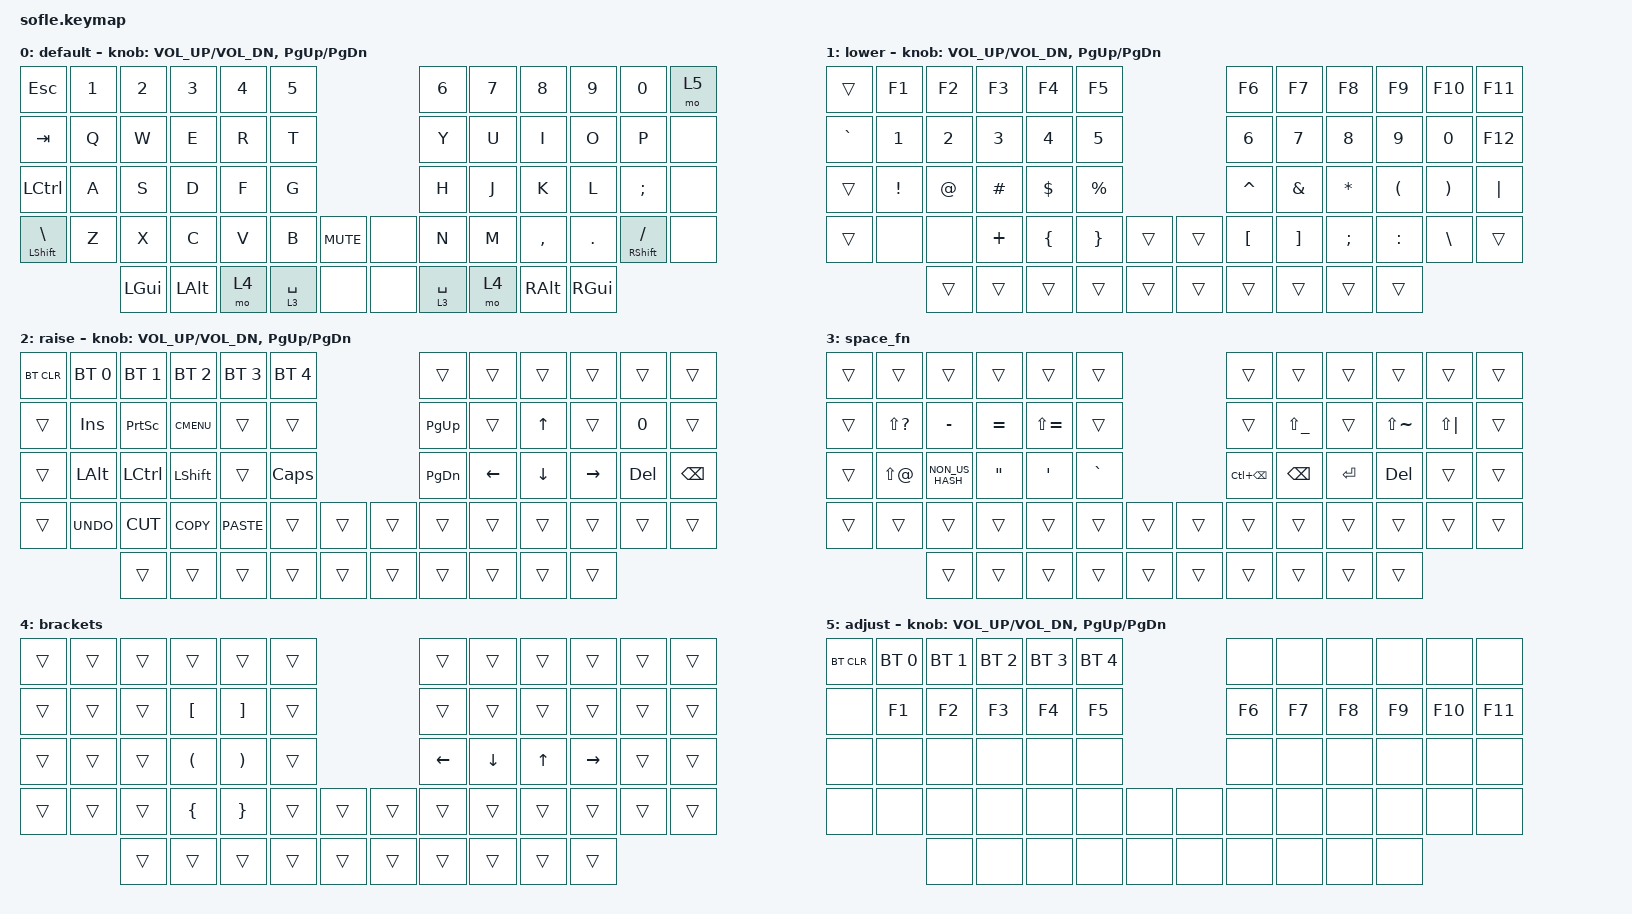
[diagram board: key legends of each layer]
/*
 * Copyright (c) 2020 The ZMK Contributors
 *
 * SPDX-License-Identifier: MIT
 */

#include <behaviors.dtsi>
#include <dt-bindings/zmk/bt.h>
#include <dt-bindings/zmk/keys.h>

#define BASE 0
#define LOWER 1
#define RAISE 2
#define ADJUST 3

&led_strip { chain-length = <36>; };

&nice_view_spi { cs-gpios = <&pro_micro 4 GPIO_ACTIVE_HIGH>; };

/ {
    // Activate ADJUST layer by pressing raise and lower

    conditional_layers { compatible = "zmk,conditional-layers"; };

    keymap {
        compatible = "zmk,keymap";

        default_layer {
            display-name = "default";

            // ------------------------------------------------------------------------------------------------------------
            // |   `   |  1  |  2  |  3   |  4   |  5   |                   |  6   |  7    |  8    |  9   |   0   |       |
            // |  ESC  |  Q  |  W  |  E   |  R   |  T   |                   |  Y   |  U    |  I    |  O   |   P   | BKSPC |
            // |  TAB  |  A  |  S  |  D   |  F   |  G   |                   |  H   |  J    |  K    |  L   |   ;   |   '   |
            // | SHIFT |  Z  |  X  |  C   |  V   |  B   |  MUTE  |  |       |  N   |  M    |  ,    |  .   |   /   | SHIFT |
            //               | GUI | ALT  | CTRL | LOWER|  ENTER |  | SPACE | RAISE| CTRL  | ALT   | GUI  |

            bindings = <
&kp ESCAPE           &kp N1  &kp N2    &kp N3    &kp N4  &kp N5                            &kp N6       &kp N7  &kp N8     &kp N9    &kp N0                &mo 5
&kp TAB              &kp Q   &kp W     &kp E     &kp R   &kp T                             &kp Y        &kp U   &kp I      &kp O     &kp P                 &none
&kp LCTRL            &kp A   &kp S     &kp D     &kp F   &kp G                             &kp H        &kp J   &kp K      &kp L     &kp SEMI              &none
&mt LSHFT BACKSLASH  &kp Z   &kp X     &kp C     &kp V   &kp B        &kp C_MUTE    &none  &kp N        &kp M   &kp COMMA  &kp DOT   &mt RIGHT_SHIFT FSLH  &none
                             &kp LGUI  &kp LALT  &mo 4   &lt 3 SPACE  &none         &none  &lt 3 SPACE  &mo 4   &kp RALT   &kp RGUI
            >;

            sensor-bindings = <
                &inc_dec_kp C_VOL_UP C_VOL_DN 
                &inc_dec_kp PG_UP PG_DN
            >;
        };

        lower_layer {
            display-name = "lower";

            // ------------------------------------------------------------------------------------------------------------
            // |       |  F1 |  F2 |  F3  |  F4  |  F5  |                   |  F6  |  F7   |  F8   |  F9  |  F10  |  F11  |
            // |   `   |  1  |  2  |  3   |  4   |  5   |                   |  6   |  7    |  8    |  9   |   0   |  F12  |
            // |       |  !  |  @  |  #   |  $   |  %   |                   |  ^   |  &    |  *    |  (   |   )   |   |   |
            // |       |  =  |  -  |  +   |  {   |  }   |        |  |       |  [   |  ]    |  ;    |  :   |   \   |       |
            //               |     |      |      |      |        |  |       |      |       |       |      |

            bindings = <
&trans     &kp F1    &kp F2  &kp F3    &kp F4    &kp F5                       &kp F6     &kp F7    &kp F8     &kp F9     &kp F10   &kp F11
&kp GRAVE  &kp N1    &kp N2  &kp N3    &kp N4    &kp N5                       &kp N6     &kp N7    &kp N8     &kp N9     &kp N0    &kp F12
&trans     &kp EXCL  &kp AT  &kp HASH  &kp DLLR  &kp PRCNT                    &kp CARET  &kp AMPS  &kp ASTRK  &kp LPAR   &kp RPAR  &kp PIPE
&trans     &none     &none   &kp PLUS  &kp LBRC  &kp RBRC   &trans    &trans  &kp LBKT   &kp RBKT  &kp SEMI   &kp COLON  &kp BSLH  &trans
                     &trans  &trans    &trans    &trans     &trans    &trans  &trans     &trans    &trans     &trans
            >;

            sensor-bindings = <
                &inc_dec_kp C_VOL_UP C_VOL_DN 
                &inc_dec_kp PG_UP PG_DN
            >;
        };

        raise_layer {
            display-name = "raise";

            // ------------------------------------------------------------------------------------------------------------
            // | BTCLR | BT1  | BT2  |  BT3  |  BT4  |  BT5 |                |      |      |       |      |       |       |
            // |       | INS  | PSCR | GUI   |       |      |                | PGUP |      |   ^   |      |       |       |
            // |       | ALT  | CTRL | SHIFT |       | CAPS |                | PGDN |   <- |   v   |  ->  |  DEL  | BKSPC |
            // |       | UNDO | CUT  | COPY  | PASTE |      |      |  |      |      |      |       |      |       |       |
            //                |      |       |       |      |      |  |      |      |      |       |      |

            bindings = <
&bt BT_CLR  &bt BT_SEL 0  &bt BT_SEL 1  &bt BT_SEL 2  &bt BT_SEL 3  &bt BT_SEL 4                    &trans     &trans    &trans    &trans     &trans   &trans
&trans      &kp INS       &kp PSCRN     &kp K_CMENU   &trans        &trans                          &kp PG_UP  &trans    &kp UP    &trans     &kp N0   &trans
&trans      &kp LALT      &kp LCTRL     &kp LSHFT     &trans        &kp CLCK                        &kp PG_DN  &kp LEFT  &kp DOWN  &kp RIGHT  &kp DEL  &kp BSPC
&trans      &kp K_UNDO    &kp K_CUT     &kp K_COPY    &kp K_PASTE   &trans        &trans    &trans  &trans     &trans    &trans    &trans     &trans   &trans
                          &trans        &trans        &trans        &trans        &trans    &trans  &trans     &trans    &trans    &trans
            >;

            sensor-bindings = <
                &inc_dec_kp C_VOL_UP C_VOL_DN 
                &inc_dec_kp PG_UP PG_DN
            >;
        };

        space_fn {
            bindings = <
&trans  &trans         &trans           &trans             &trans         &trans                       &trans        &trans         &trans     &trans         &trans        &trans
&trans  &kp LS(QMARK)  &kp MINUS        &kp EQUAL          &kp LS(EQUAL)  &trans                       &trans        &kp LS(UNDER)  &trans     &kp LS(TILDE)  &kp LS(PIPE)  &trans
&trans  &kp LS(AT)     &kp NON_US_HASH  &kp DOUBLE_QUOTES  &kp APOS       &kp GRAVE                    &kp LC(BSPC)  &kp BACKSPACE  &kp ENTER  &kp DELETE     &trans        &trans
&trans  &trans         &trans           &trans             &trans         &trans     &trans    &trans  &trans        &trans         &trans     &trans         &trans        &trans
                       &trans           &trans             &trans         &trans     &trans    &trans  &trans        &trans         &trans     &trans
            >;

            label = "space_fn";
        };

        brackets {
            bindings = <
&trans  &trans  &trans  &trans                &trans                 &trans                    &trans    &trans    &trans  &trans     &trans  &trans
&trans  &trans  &trans  &kp LBKT              &kp RBKT               &trans                    &trans    &trans    &trans  &trans     &trans  &trans
&trans  &trans  &trans  &kp LEFT_PARENTHESIS  &kp RIGHT_PARENTHESIS  &trans                    &kp LEFT  &kp DOWN  &kp UP  &kp RIGHT  &trans  &trans
&trans  &trans  &trans  &kp LEFT_BRACE        &kp RIGHT_BRACE        &trans  &trans    &trans  &trans    &trans    &trans  &trans     &trans  &trans
                &trans  &trans                &trans                 &trans  &trans    &trans  &trans    &trans    &trans  &trans
            >;

            label = "brackets";
        };

        adjust_layer {
            // ----------------------------------------------------------------------------------------------------------------------------
            // | BTCLR  |  BT1    |  BT2    |   BT3   |   BT4   |   BT5   |                  |      |      |       |      |       |       |
            // | EXTPWR | RGB_HUD | RGB_HUI | RGB_SAD | RGB_SAI | RGB_EFF |                  |      |      |       |      |       |       |
            // |        | RGB_BRD | RGB_BRI |         |         |         |                  |      |      |       |      |       |       |
            // |        |         |         |         |         |         | RGB_TOG | |      |      |      |       |      |       |       |
            //                    |         |         |         |         |         | |      |      |      |       |      |

            display-name = "adjust";
            bindings = <
&bt BT_CLR  &bt BT_SEL 0  &bt BT_SEL 1  &bt BT_SEL 2  &bt BT_SEL 3  &bt BT_SEL 4                  &none   &none   &none   &none   &none    &none
&none       &kp F1        &kp F2        &kp F3        &kp F4        &kp F5                        &kp F6  &kp F7  &kp F8  &kp F9  &kp F10  &kp F11
&none       &none         &none         &none         &none         &none                         &none   &none   &none   &none   &none    &none
&none       &none         &none         &none         &none         &none         &none    &none  &none   &none   &none   &none   &none    &none
                          &none         &none         &none         &none         &none    &none  &none   &none   &none   &none
            >;

            sensor-bindings = <
                &inc_dec_kp C_VOL_UP C_VOL_DN 
                &inc_dec_kp PG_UP PG_DN
            >;
        };
    };
};
